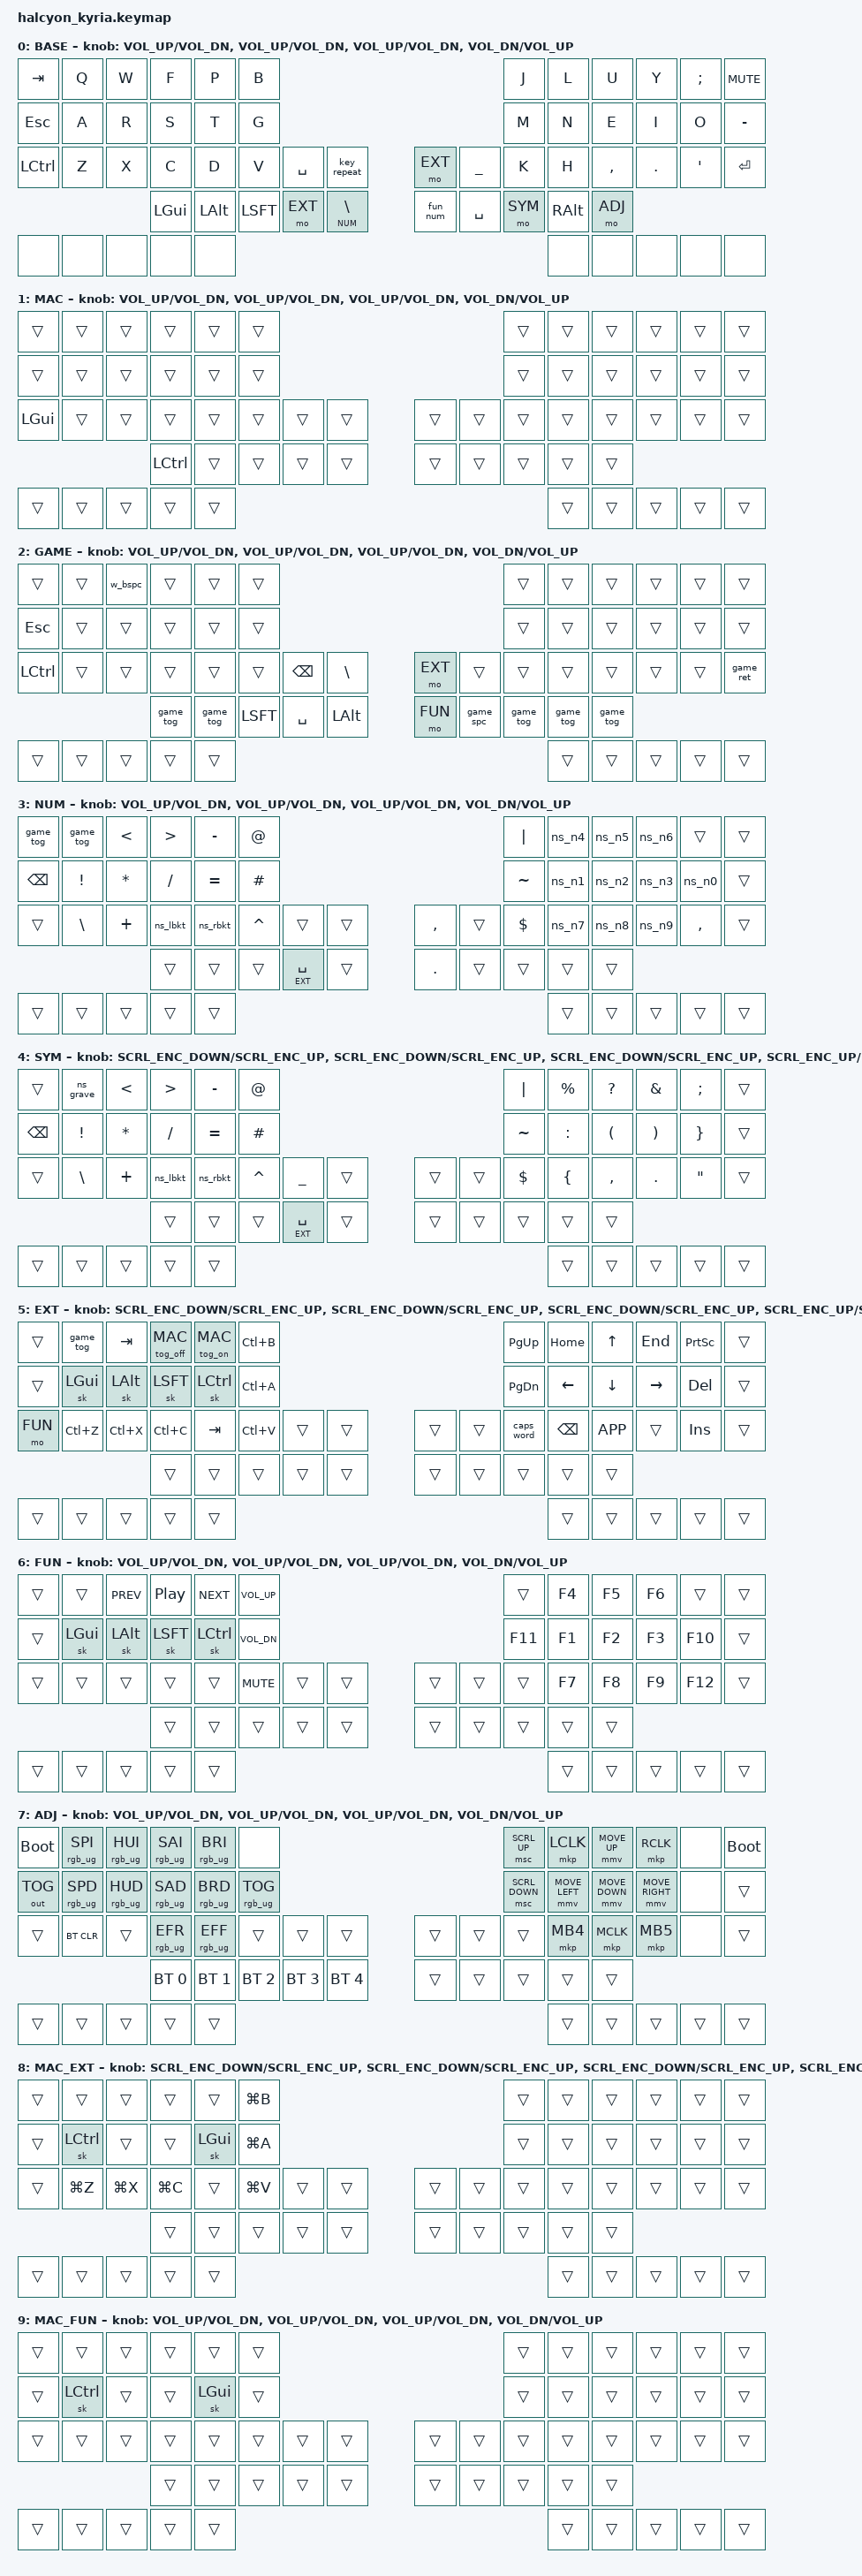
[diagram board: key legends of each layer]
/*
 * Ported from the QMK `glassbricks` keymap for the wired Halcyon Kyria rev4.
 * From: qmk_userspace/keyboards/splitkb/halcyon/kyria/keymaps/glassbricks/keymap.c
 */

#include <behaviors.dtsi>
#include <dt-bindings/zmk/bt.h>
#include <dt-bindings/zmk/keys.h>
#include <dt-bindings/zmk/modifiers.h>
#include <dt-bindings/zmk/outputs.h>
#include <dt-bindings/zmk/pointing.h>
#include <dt-bindings/zmk/rgb.h>

/*
 * Layers and layer order.
 *
 * The MAC and associated layers swap meta and ctrl.
 */
#define BASE    0
#define MAC     1
#define GAME    2
#define NUM     3
#define SYM     4
#define EXT     5
#define FUN     6
#define ADJ     7
#define MAC_EXT 8
#define MAC_FUN 9

#define BINDING_CELLS_0 #binding-cells = <0>

#define SCRL_ENC_UP   MOVE_Y(200)
#define SCRL_ENC_DOWN MOVE_Y(-200)

/* Shift is a no-op on these keys. */
#define NOSHIFT(NAME, KEY) \
    NAME: NAME { \
        compatible = "zmk,behavior-mod-morph"; \
        BINDING_CELLS_0; \
        bindings = <&kp KEY>, <&kp KEY>; \
        mods = <(MOD_LSFT|MOD_RSFT)>; \
    };

/* QMK ONESHOT_TIMEOUT */
&sk {
    release-after-ms = <500>;
};

/ {
    conditional_layers {
        compatible = "zmk,conditional-layers";

        mac_ext {
            if-layers = <MAC EXT>;
            then-layer = <MAC_EXT>;
        };

        mac_fun {
            if-layers = <MAC FUN>;
            then-layer = <MAC_FUN>;
        };
    };

    behaviors {
        NOSHIFT(ns_grave, GRAVE)
        NOSHIFT(ns_n1, N1)
        NOSHIFT(ns_n2, N2)
        NOSHIFT(ns_n3, N3)
        NOSHIFT(ns_n4, N4)
        NOSHIFT(ns_n5, N5)
        NOSHIFT(ns_n6, N6)
        NOSHIFT(ns_n7, N7)
        NOSHIFT(ns_n8, N8)
        NOSHIFT(ns_n9, N9)
        NOSHIFT(ns_n0, N0)
        NOSHIFT(ns_lbkt, LBKT)
        NOSHIFT(ns_rbkt, RBKT)

        /* FUN; NUM when shifted. */
        fun_num: fun_num {
            compatible = "zmk,behavior-mod-morph";
            #binding-cells = <0>;
            bindings = <&mo FUN>, <&mo NUM>;
            mods = <(MOD_LSFT|MOD_RSFT)>;
            keep-mods = <(MOD_LSFT|MOD_RSFT)>;
        };

        /* W; bkspc when alt is held. */
        w_bspc: w_bspc {
            compatible = "zmk,behavior-mod-morph";
            #binding-cells = <0>;
            bindings = <&kp W>, <&kp BSPC>;
            mods = <(MOD_LALT|MOD_RALT)>;
        };

        /* NUM; bkspc on tap. */
        num_bsls: num_bsls {
            compatible = "zmk,behavior-hold-tap";
            #binding-cells = <2>;
            flavor = "hold-preferred";
            tapping-term-ms = <150>;
            bindings = <&mo>, <&kp>;
        };

        /* EXT; space on tap. */
        spc_ext: spc_ext {
            compatible = "zmk,behavior-hold-tap";
            #binding-cells = <2>;
            flavor = "tap-preferred";
            tapping-term-ms = <150>;
            bindings = <&mo>, <&kp>;
        };

        // toggle the mac layer.
        tog_on: tog_on {
            compatible = "zmk,behavior-toggle-layer";
            #binding-cells = <1>;
            toggle-mode = "on";
            locking;
        };

        tog_off: tog_off {
            compatible = "zmk,behavior-toggle-layer";
            #binding-cells = <1>;
            toggle-mode = "off";
            locking;
        };

        // toggle the game layer
        game_tog: game_tog {
            compatible = "zmk,behavior-macro";
            #binding-cells = <0>;
            bindings = <&tog GAME &tog_off MAC>;
        };

        // toggle game layer AND press key
        game_spc: game_spc {
            compatible = "zmk,behavior-macro";
            #binding-cells = <0>;
            bindings = <&tog GAME &tog_off MAC &kp SPACE>;
        };

        game_ret: game_ret {
            compatible = "zmk,behavior-macro";
            #binding-cells = <0>;
            bindings = <&tog GAME &tog_off MAC &kp ENTER>;
        };

        // Actual scroll behavior 
        inc_dec_scroll: inc_dec_scroll {
            compatible = "zmk,behavior-sensor-rotate-var";
            #sensor-binding-cells = <2>;
            bindings = <&msc>, <&msc>;
            tap-ms = <25>;
        };
    };

    keymap {
        compatible = "zmk,keymap";

        base_layer {
            display-name = "BASE";
            bindings = <
&kp TAB    &kp Q  &kp W  &kp F     &kp P     &kp B                                                           &kp J    &kp L     &kp U      &kp Y    &kp SEMI  &kp C_MUTE
&kp ESC    &kp A  &kp R  &kp S     &kp T     &kp G                                                           &kp M    &kp N     &kp E      &kp I    &kp O     &kp MINUS
&kp LCTRL  &kp Z  &kp X  &kp C     &kp D     &kp V     &kp SPACE  &key_repeat           &mo EXT   &kp UNDER  &kp K    &kp H     &kp COMMA  &kp DOT  &kp SQT   &kp ENTER
                         &kp LGUI  &kp LALT  &kp LSFT  &mo EXT    &num_bsls NUM BSLH    &fun_num  &kp SPACE  &mo SYM  &kp RALT  &mo ADJ

&none      &none  &none  &none     &none                                                                              &none     &none      &none    &none     &none
            >;
            sensor-bindings = <&inc_dec_kp C_VOL_UP C_VOL_DN &inc_dec_kp C_VOL_UP C_VOL_DN &inc_dec_kp C_VOL_UP C_VOL_DN &inc_dec_kp C_VOL_DN C_VOL_UP>;
        };

        /* Ctrl/Meta swap. */
        mac_layer {
            display-name = "MAC";
            bindings = <
&trans    &trans  &trans  &trans     &trans  &trans                                    &trans  &trans  &trans  &trans  &trans  &trans
&trans    &trans  &trans  &trans     &trans  &trans                                    &trans  &trans  &trans  &trans  &trans  &trans
&kp LGUI  &trans  &trans  &trans     &trans  &trans  &trans  &trans    &trans  &trans  &trans  &trans  &trans  &trans  &trans  &trans
                          &kp LCTRL  &trans  &trans  &trans  &trans    &trans  &trans  &trans  &trans  &trans

&trans    &trans  &trans  &trans     &trans                                                    &trans  &trans  &trans  &trans  &trans
            >;
            sensor-bindings = <&inc_dec_kp C_VOL_UP C_VOL_DN &inc_dec_kp C_VOL_UP C_VOL_DN &inc_dec_kp C_VOL_UP C_VOL_DN &inc_dec_kp C_VOL_DN C_VOL_UP>;
        };

        game_layer {
            display-name = "GAME";
            bindings = <
&trans     &trans  &w_bspc  &trans     &trans     &trans                                               &trans     &trans     &trans     &trans  &trans  &trans
&kp ESC    &trans  &trans   &trans     &trans     &trans                                               &trans     &trans     &trans     &trans  &trans  &trans
&kp LCTRL  &trans  &trans   &trans     &trans     &trans    &kp BSPC   &kp BSLH    &mo EXT  &trans     &trans     &trans     &trans     &trans  &trans  &game_ret
                            &game_tog  &game_tog  &kp LSFT  &kp SPACE  &kp LALT    &mo FUN  &game_spc  &game_tog  &game_tog  &game_tog

&trans     &trans  &trans   &trans     &trans                                                                     &trans     &trans     &trans  &trans  &trans
            >;
            sensor-bindings = <&inc_dec_kp C_VOL_UP C_VOL_DN &inc_dec_kp C_VOL_UP C_VOL_DN &inc_dec_kp C_VOL_UP C_VOL_DN &inc_dec_kp C_VOL_DN C_VOL_UP>;
        };

        num_layer {
            display-name = "NUM";
            bindings = <
&game_tog  &game_tog  &kp LT    &kp GT    &kp MINUS  &kp AT                                                      &kp PIPE   &ns_n4  &ns_n5  &ns_n6  &trans     &trans
&kp BSPC   &kp EXCL   &kp STAR  &kp FSLH  &kp EQUAL  &kp HASH                                                    &kp TILDE  &ns_n1  &ns_n2  &ns_n3  &ns_n0     &trans
&trans     &kp BSLH   &kp PLUS  &ns_lbkt  &ns_rbkt   &kp CARET  &trans              &trans    &kp COMMA  &trans  &kp DLLR   &ns_n7  &ns_n8  &ns_n9  &kp COMMA  &trans
                                &trans    &trans     &trans     &spc_ext EXT SPACE  &trans    &kp DOT    &trans  &trans     &trans  &trans

&trans     &trans     &trans    &trans    &trans                                                                            &trans  &trans  &trans  &trans     &trans
            >;
            sensor-bindings = <&inc_dec_kp C_VOL_UP C_VOL_DN &inc_dec_kp C_VOL_UP C_VOL_DN &inc_dec_kp C_VOL_UP C_VOL_DN &inc_dec_kp C_VOL_DN C_VOL_UP>;
        };

        sym_layer {
            display-name = "SYM";
            bindings = <
&trans    &ns_grave  &kp LT    &kp GT    &kp MINUS  &kp AT                                                   &kp PIPE   &kp PRCNT  &kp QMARK  &kp AMPS  &kp SEMI  &trans
&kp BSPC  &kp EXCL   &kp STAR  &kp FSLH  &kp EQUAL  &kp HASH                                                 &kp TILDE  &kp COLON  &kp LPAR   &kp RPAR  &kp RBRC  &trans
&trans    &kp BSLH   &kp PLUS  &ns_lbkt  &ns_rbkt   &kp CARET  &kp UNDER           &trans    &trans  &trans  &kp DLLR   &kp LBRC   &kp COMMA  &kp DOT   &kp DQT   &trans
                               &trans    &trans     &trans     &spc_ext EXT SPACE  &trans    &trans  &trans  &trans     &trans     &trans

&trans    &trans     &trans    &trans    &trans                                                                         &trans     &trans     &trans    &trans    &trans
            >;
            sensor-bindings = <&inc_dec_scroll SCRL_ENC_DOWN SCRL_ENC_UP &inc_dec_scroll SCRL_ENC_DOWN SCRL_ENC_UP &inc_dec_scroll SCRL_ENC_DOWN SCRL_ENC_UP &inc_dec_scroll SCRL_ENC_UP SCRL_ENC_DOWN>;
        };

        ext_layer {
            display-name = "EXT";
            bindings = <
&trans   &game_tog  &kp TAB    &tog_off MAC  &tog_on MAC  &kp LC(B)                                    &kp PG_UP   &kp HOME  &kp UP     &kp END    &kp PSCRN  &trans
&trans   &sk LGUI   &sk LALT   &sk LSFT      &sk LCTRL    &kp LC(A)                                    &kp PG_DN   &kp LEFT  &kp DOWN   &kp RIGHT  &kp DEL    &trans
&mo FUN  &kp LC(Z)  &kp LC(X)  &kp LC(C)     &kp TAB      &kp LC(V)  &trans  &trans    &trans  &trans  &caps_word  &kp BSPC  &kp K_APP  &trans     &kp INS    &trans
                               &trans        &trans       &trans     &trans  &trans    &trans  &trans  &trans      &trans    &trans

&trans   &trans     &trans     &trans        &trans                                                                &trans    &trans     &trans     &trans     &trans
            >;
            sensor-bindings = <&inc_dec_scroll SCRL_ENC_DOWN SCRL_ENC_UP &inc_dec_scroll SCRL_ENC_DOWN SCRL_ENC_UP &inc_dec_scroll SCRL_ENC_DOWN SCRL_ENC_UP &inc_dec_scroll SCRL_ENC_UP SCRL_ENC_DOWN>;
        };

        fun_layer {
            display-name = "FUN";
            bindings = <
&trans  &trans    &kp C_PREV  &kp C_PLAY_PAUSE  &kp C_NEXT  &kp C_VOL_UP                                    &trans   &kp F4  &kp F5  &kp F6  &trans   &trans
&trans  &sk LGUI  &sk LALT    &sk LSFT          &sk LCTRL   &kp C_VOL_DN                                    &kp F11  &kp F1  &kp F2  &kp F3  &kp F10  &trans
&trans  &trans    &trans      &trans            &trans      &kp C_MUTE    &trans  &trans    &trans  &trans  &trans   &kp F7  &kp F8  &kp F9  &kp F12  &trans
                              &trans            &trans      &trans        &trans  &trans    &trans  &trans  &trans   &trans  &trans

&trans  &trans    &trans      &trans            &trans                                                               &trans  &trans  &trans  &trans   &trans
            >;
            sensor-bindings = <&inc_dec_kp C_VOL_UP C_VOL_DN &inc_dec_kp C_VOL_UP C_VOL_DN &inc_dec_kp C_VOL_UP C_VOL_DN &inc_dec_kp C_VOL_DN C_VOL_UP>;
        };

        adj_layer {
            display-name = "ADJ";
            bindings = <
&bootloader   &rgb_ug RGB_SPI  &rgb_ug RGB_HUI  &rgb_ug RGB_SAI  &rgb_ug RGB_BRI  &none                                                          &msc SCRL_UP    &mkp LCLK       &mmv MOVE_UP    &mkp RCLK        &none   &bootloader
&out OUT_TOG  &rgb_ug RGB_SPD  &rgb_ug RGB_HUD  &rgb_ug RGB_SAD  &rgb_ug RGB_BRD  &rgb_ug RGB_TOG                                                &msc SCRL_DOWN  &mmv MOVE_LEFT  &mmv MOVE_DOWN  &mmv MOVE_RIGHT  &none   &trans
&trans        &bt BT_CLR       &trans           &rgb_ug RGB_EFR  &rgb_ug RGB_EFF  &trans           &trans        &trans          &trans  &trans  &trans          &mkp MB4        &mkp MCLK       &mkp MB5         &none   &trans
                                                &bt BT_SEL 0     &bt BT_SEL 1     &bt BT_SEL 2     &bt BT_SEL 3  &bt BT_SEL 4    &trans  &trans  &trans          &trans          &trans

&trans        &trans           &trans           &trans           &trans                                                                                          &trans          &trans          &trans           &trans  &trans
            >;
            sensor-bindings = <&inc_dec_kp C_VOL_UP C_VOL_DN &inc_dec_kp C_VOL_UP C_VOL_DN &inc_dec_kp C_VOL_UP C_VOL_DN &inc_dec_kp C_VOL_DN C_VOL_UP>;
        };

        mac_ext_layer {
            display-name = "MAC_EXT";
            bindings = <
&trans  &trans     &trans     &trans     &trans    &kp LG(B)                                    &trans  &trans  &trans  &trans  &trans  &trans
&trans  &sk LCTRL  &trans     &trans     &sk LGUI  &kp LG(A)                                    &trans  &trans  &trans  &trans  &trans  &trans
&trans  &kp LG(Z)  &kp LG(X)  &kp LG(C)  &trans    &kp LG(V)  &trans  &trans    &trans  &trans  &trans  &trans  &trans  &trans  &trans  &trans
                              &trans     &trans    &trans     &trans  &trans    &trans  &trans  &trans  &trans  &trans

&trans  &trans     &trans     &trans     &trans                                                         &trans  &trans  &trans  &trans  &trans
            >;
            sensor-bindings = <&inc_dec_scroll SCRL_ENC_DOWN SCRL_ENC_UP &inc_dec_scroll SCRL_ENC_DOWN SCRL_ENC_UP &inc_dec_scroll SCRL_ENC_DOWN SCRL_ENC_UP &inc_dec_scroll SCRL_ENC_UP SCRL_ENC_DOWN>;
        };

        mac_fun_layer {
            display-name = "MAC_FUN";
            bindings = <
&trans  &trans     &trans  &trans  &trans    &trans                                    &trans  &trans  &trans  &trans  &trans  &trans
&trans  &sk LCTRL  &trans  &trans  &sk LGUI  &trans                                    &trans  &trans  &trans  &trans  &trans  &trans
&trans  &trans     &trans  &trans  &trans    &trans  &trans  &trans    &trans  &trans  &trans  &trans  &trans  &trans  &trans  &trans
                           &trans  &trans    &trans  &trans  &trans    &trans  &trans  &trans  &trans  &trans

&trans  &trans     &trans  &trans  &trans                                                      &trans  &trans  &trans  &trans  &trans
            >;
            sensor-bindings = <&inc_dec_kp C_VOL_UP C_VOL_DN &inc_dec_kp C_VOL_UP C_VOL_DN &inc_dec_kp C_VOL_UP C_VOL_DN &inc_dec_kp C_VOL_DN C_VOL_UP>;
        };
    };
};
